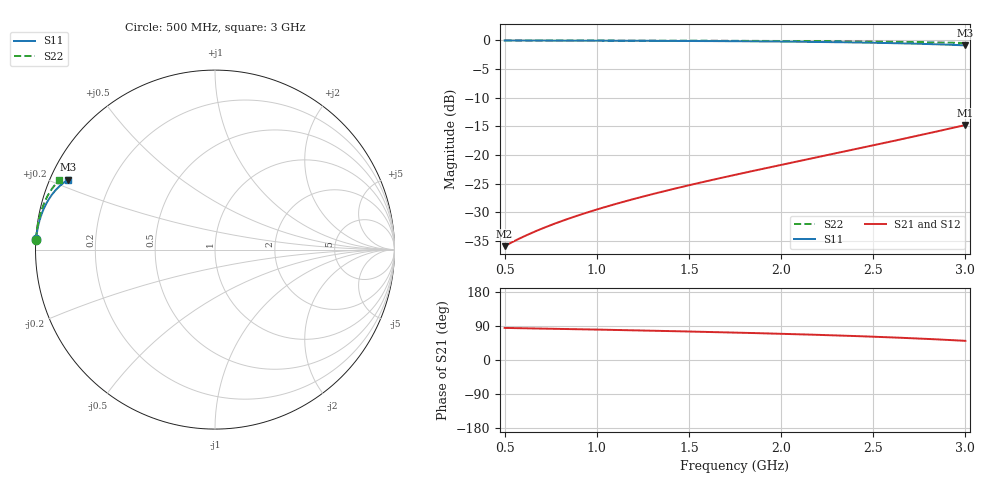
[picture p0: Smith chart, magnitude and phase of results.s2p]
! rfsim (KiCad + openEMS)
# HZ S RI R 50
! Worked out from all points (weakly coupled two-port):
!   251 points, 500 MHz to 3 GHz, reference 50 ohm
!   highest |S21| = -14.76 dB at 3 GHz (marker M1); lowest = -35.9 dB at 500 MHz (marker M2)
!   lowest |S11| = -0.9 dB at 3 GHz (marker M3), VSWR 20.14, Z = 2.61 + j11.3 ohm
!   |S11| at or under -10 dB: nowhere
!   |S22| runs from -0.5 to 0.0 dB; largest |S21 - S12| = 0.00066
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5e8  -0.9968 0.0583  0.00149 0.016  0.00146 0.016  -0.9976 0.0562
5.4e8  -0.9963 0.063  0.00171 0.0173  0.00169 0.0173  -0.9972 0.0607
5.9e8  -0.9956 0.0688  0.00202 0.0189  0.002 0.0189  -0.9967 0.0663
6.4e8  -0.9949 0.0747  0.00235 0.0206  0.00234 0.0206  -0.9961 0.072
6.9e8  -0.9942 0.0806  0.0027 0.0222  0.0027 0.0222  -0.9955 0.0777
7.4e8  -0.9933 0.0865  0.00309 0.0239  0.0031 0.0239  -0.9949 0.0833
8e8  -0.9923 0.0935  0.0036 0.026  0.00361 0.026  -0.9941 0.0901
9.2e8  -0.9899 0.1078  0.00476 0.0302  0.00478 0.0301  -0.9924 0.1039
1.01e9  -0.9879 0.1187  0.00577 0.0334  0.00579 0.0334  -0.9909 0.1143
1.11e9  -0.9854 0.1308  0.00705 0.0371  0.00707 0.037  -0.989 0.126
1.22e9  -0.9822 0.1443  0.00867 0.0413  0.00869 0.0412  -0.9867 0.139
1.34e9  -0.9783 0.1593  0.0107 0.0461  0.0107 0.046  -0.9839 0.1534
1.53e9  -0.971 0.1834  0.0146 0.054  0.0146 0.054  -0.9786 0.1767
1.75e9  -0.9605 0.212  0.0204 0.0641  0.0204 0.064  -0.9711 0.2045
1.97e9  -0.9474 0.2417  0.028 0.0751  0.028 0.075  -0.9617 0.2334
2.17e9  -0.9326 0.2696  0.0369 0.0862  0.037 0.0861  -0.951 0.2608
2.39e9  -0.912 0.3014  0.0499 0.0997  0.05 0.0995  -0.9363 0.2925
2.59e9  -0.8882 0.3309  0.0656 0.113  0.0657 0.1127  -0.9191 0.3226
2.7e9  -0.8724 0.3472  0.0764 0.1206  0.0765 0.1203  -0.9077 0.3396
2.8e9  -0.8562 0.3618  0.0877 0.1276  0.0879 0.1273  -0.8958 0.3552
2.9e9  -0.8379 0.3761  0.1008 0.1346  0.1011 0.1341  -0.8823 0.3709
3e9  -0.8172 0.3898  0.1161 0.1413  0.1163 0.1407  -0.8669 0.3865
